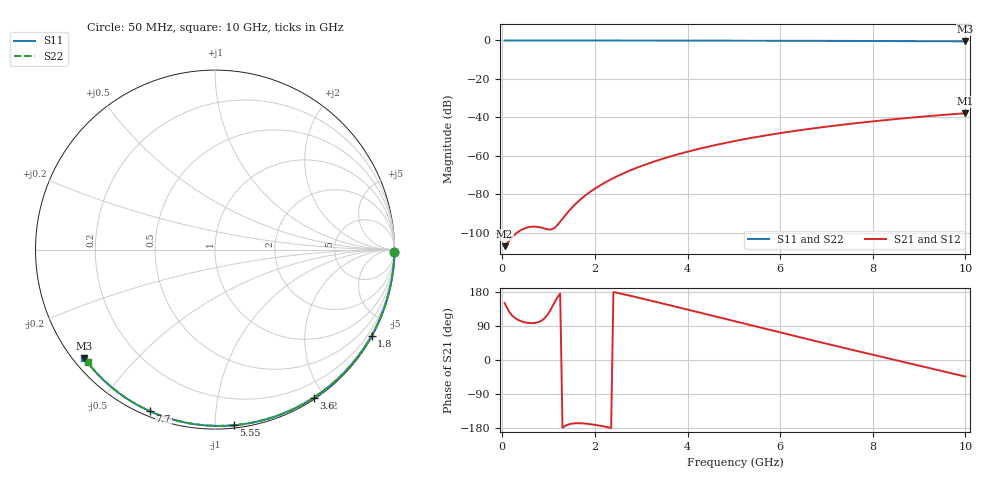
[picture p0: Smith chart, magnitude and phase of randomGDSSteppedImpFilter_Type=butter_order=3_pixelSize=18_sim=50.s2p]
! freq	dB(S11)	phase(S11)	dB(S12)	phase(S12)
!  dB(S21)	phase(S21)	dB(S22)	phase(S22)
!S-par simulation data
#  GHz  S  DB  R 50
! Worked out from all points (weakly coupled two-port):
!   200 points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, 50 MHz to 10 GHz, reference 50 ohm
!   highest |S21| = -37.81 dB at 10 GHz (marker M1); lowest = -106.9 dB at 50 MHz (marker M2)
!   lowest |S11| = -0.5 dB at 10 GHz (marker M3), VSWR 36.70, Z = 1.54 - j18.1 ohm
!   |S11| at or under -10 dB: nowhere
!   |S22| runs from -0.5 to 0.0 dB; largest |S21 - S12| = 0
!   S11 on the Smith chart (normalised r, x): 50 MHz: open; 1.8 GHz: 0.03, -3.88; 3.6 GHz: 0.02, -1.87; 5.55 GHz: 0.02, -1.11; 7.7 GHz: 0.02, -0.68; 10 GHz: 0.03, -0.36
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0.05  -0.00 -0.8  -106.87 150.4  -106.87 150.4  -0.00 -0.8
0.45  -0.01 -7.3  -97.95 100.6  -97.95 100.6  -0.01 -7.2
0.9  -0.02 -14.6  -97.63 108.8  -97.63 108.8  -0.02 -14.4
1.3  -0.03 -21.0  -92.66 -178.9  -92.66 -178.9  -0.03 -20.6
1.75  -0.04 -28.1  -81.36 -167.3  -81.36 -167.3  -0.04 -27.7
1.8  -0.04 -28.9  -80.40 -167.8  -80.40 -167.8  -0.04 -28.4
1.85  -0.04 -29.7  -79.50 -168.5  -79.50 -168.5  -0.04 -29.2
2.05  -0.04 -32.8  -76.21 -172.1  -76.21 -172.1  -0.04 -32.3
2.2  -0.04 -35.1  -74.06 -175.5  -74.06 -175.5  -0.04 -34.6
2.55  -0.05 -40.5  -69.75 175.5  -69.75 175.5  -0.05 -39.9
2.95  -0.06 -46.6  -65.72 164.2  -65.72 164.2  -0.06 -45.9
3.4  -0.07 -53.4  -61.95 151.0  -61.95 151.0  -0.07 -52.6
3.6  -0.08 -56.3  -60.47 145.0  -60.47 145.0  -0.08 -55.5
4.3  -0.09 -66.5  -56.00 124.0  -56.00 124.0  -0.09 -65.6
5.05  -0.12 -77.1  -52.11 101.2  -52.11 101.2  -0.12 -76.0
5.55  -0.14 -83.9  -49.91 86.1  -49.91 86.1  -0.14 -82.8
6.1  -0.16 -91.3  -47.77 69.6  -47.77 69.6  -0.16 -90.1
6.7  -0.19 -99.2  -45.72 51.8  -45.72 51.8  -0.19 -97.9
7.7  -0.26 -111.9  -42.81 22.6  -42.81 22.6  -0.25 -110.5
8.35  -0.31 -120.0  -41.18 3.9  -41.18 3.9  -0.30 -118.5
9.2  -0.39 -130.4  -39.30 -20.5  -39.30 -20.5  -0.38 -128.8
10  -0.47 -140.2  -37.81 -43.7  -37.81 -43.7  -0.47 -138.4
